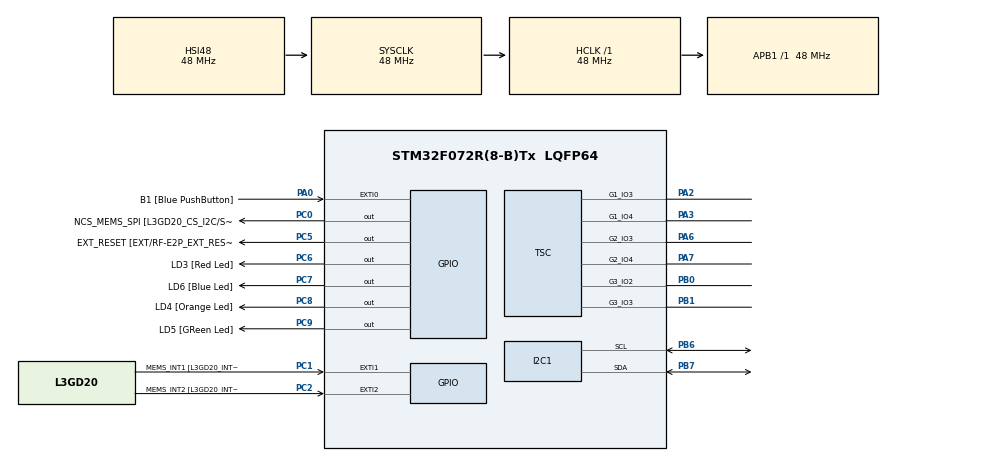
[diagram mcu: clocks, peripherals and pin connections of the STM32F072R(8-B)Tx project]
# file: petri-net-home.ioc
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I2C1.OwnAddress=0x3f
I2C1.Timing=0x20303E5D
Mcu.Family=STM32F0
Mcu.Name=STM32F072R(8-B)Tx
Mcu.Package=LQFP64
NVIC.EXTI0_1_IRQn=true\:1\:0\:true\:false\:true\:true\:true
NVIC.I2C1_IRQn=true\:0\:0\:false\:false\:true\:true\:true
NVIC.TIM14_IRQn=true\:0\:0\:false\:false\:true\:true\:true
NVIC.TIM6_DAC_IRQn=true\:1\:0\:true\:false\:true\:true\:true
PA0.GPIO_Label=B1 [Blue PushButton]
PA0.GPIO_ModeDefaultEXTI=GPIO_MODE_IT_RISING
PA0.Signal=GPXTI0
PA11.GPIO_Label=USBF4_DM
PA11.Signal=USB_DM
PA12.GPIO_Label=USBF4_DP
PA12.Signal=USB_DP
PA13.GPIO_Label=SWDIO
PA13.Mode=Serial_Wire
PA13.Signal=SYS_SWDIO
PA14.GPIO_Label=SWCLK
PA14.Mode=Serial_Wire
PA14.Signal=SYS_SWCLK
PA2.Mode=G1_IO3-Channel
PA2.Signal=TSC_G1_IO3
PA3.Mode=G1_IO4-Sampling
PA3.Signal=TSC_G1_IO4
PA6.Mode=G2_IO3-Channel
PA6.Signal=TSC_G2_IO3
PA7.Mode=G2_IO4-Sampling
PA7.Signal=TSC_G2_IO4
PB0.Mode=G3_IO2-Channel
PB0.Signal=TSC_G3_IO2
PB1.Mode=G3_IO3-Sampling
PB1.Signal=TSC_G3_IO3
PB10.GPIO_Label=I2C2_SCL[EXT/RF-E2P_SCL]
PB10.GPIO_Pu=GPIO_PULLUP
PB10.Signal=I2C2_SCL
PB11.GPIO_Label=I2C2_SDA[EXT/RF-E2P_SDA]
PB11.GPIO_Pu=GPIO_PULLUP
PB11.Signal=I2C2_SDA
PB13.GPIO_Label=SPI2_SCK [L3GD20_SCL/SPC]
PB13.Signal=SPI2_SCK
PB14.GPIO_Label=SPI2_MISO [L3GD20_SDO]
PB14.Signal=SPI2_MISO
PB15.GPIO_Label=SPI2_MOSI [L3GD20_SDA/SDI]
PB15.Signal=SPI2_MOSI
PB6.Mode=I2C
PB6.Signal=I2C1_SCL
PB7.Mode=I2C
PB7.Signal=I2C1_SDA
PC0.GPIO_Label=NCS_MEMS_SPI [L3GD20_CS_I2C/SPI]
PC0.Signal=GPIO_Output
PC1.GPIO_Label=MEMS_INT1 [L3GD20_INT1]
PC1.GPIO_ModeDefaultEXTI=GPIO_MODE_EVT_RISING
PC1.Signal=GPXTI1
PC2.GPIO_Label=MEMS_INT2 [L3GD20_INT2]
PC2.GPIO_ModeDefaultEXTI=GPIO_MODE_EVT_RISING
PC2.Signal=GPXTI2
PC5.GPIO_Label=EXT_RESET [EXT/RF-E2P_EXT_RESET]
PC5.Signal=GPIO_Output
PC6.GPIO_Label=LD3 [Red Led]
PC6.Signal=GPIO_Output
PC7.GPIO_Label=LD6 [Blue Led]
PC7.Signal=GPIO_Output
PC8.GPIO_Label=LD4 [Orange Led]
PC8.Signal=GPIO_Output
PC9.GPIO_Label=LD5 [GReen Led]
PC9.Signal=GPIO_Output
ProjectManager.HeapSize=0x200
ProjectManager.StackSize=0x400
ProjectManager.TargetToolchain=STM32CubeIDE
RCC.AHBFreq_Value=48000000
RCC.APB1Freq_Value=48000000
RCC.APB1TimFreq_Value=48000000
RCC.HCLKFreq_Value=48000000
RCC.I2c1ClockSelection=RCC_I2C1CLKSOURCE_SYSCLK
RCC.PLLMUL=RCC_PLL_MUL6
RCC.SYSCLKFreq_VALUE=48000000
RCC.SYSCLKSource=RCC_SYSCLKSOURCE_HSI48
RTC.AsynchPrediv=127
RTC.Date=31
RTC.DayLightSaving=RTC_DAYLIGHTSAVING_SUB1H
RTC.Hours=23
RTC.Minutes=59
RTC.Month=RTC_MONTH_DECEMBER
RTC.Seconds=45
RTC.StoreOperation=RTC_STOREOPERATION_SET
RTC.SynchPrediv=319
RTC.WeekDay=RTC_WEEKDAY_SUNDAY
RTC.Year=99
TIM14.AutoReloadPreload=TIM_AUTORELOAD_PRELOAD_ENABLE
TIM14.ClockDivision=TIM_CLOCKDIVISION_DIV4
TIM14.Prescaler=732
TIM6.AutoReloadPreload=TIM_AUTORELOAD_PRELOAD_ENABLE
TIM6.Period=5859
TIM6.Prescaler=8191
TIM6.TIM_MasterOutputTrigger=TIM_TRGO_ENABLE
TSC.ChannelIOs-G1_IO3=TSC_GROUP1_IO3
TSC.ChannelIOs-G2_IO3=TSC_GROUP2_IO3
TSC.ChannelIOs-G3_IO2=TSC_GROUP3_IO2
TSC.SamplingIOs-G1_IO4=TSC_GROUP1_IO4
TSC.SamplingIOs-G2_IO4=TSC_GROUP2_IO4
TSC.SamplingIOs-G3_IO3=TSC_GROUP3_IO3
VP_RTC_VS_RTC_Activate.Mode=RTC_Enabled
VP_RTC_VS_RTC_Calendar.Mode=RTC_Calendar
VP_TIM14_VS_ClockSourceINT.Mode=Enable_Timer
VP_TIM6_VS_ClockSourceINT.Mode=Enable_Timer
board=STM32F072B-DISCO

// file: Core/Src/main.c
/* USER CODE BEGIN Header */
/**
******************************************************************************
* @file					 : main.c
* @brief					: Main program body
******************************************************************************
* @attention
*
* <h2><center>&copy; Copyright (c) 2023 STMicroelectronics.
* All rights reserved.</center></h2>
*
* This software component is licensed by ST under BSD 3-Clause license,
* the "License"; You may not use this file except in compliance with the
* License. You may obtain a copy of the License at:
*												opensource.org/licenses/BSD-3-Clause
*
******************************************************************************
*/
/* USER CODE END Header */
#include "main.h"

/* USER CODE BEGIN Includes */
#include "lcd_driver.h"
#include "terminal.h"
#include "action.h"
#include "netjson.h"

#include <stdio.h>
/* USER CODE END Includes */

/* USER CODE BEGIN PTD */
typedef struct button_data {
	int val;
	bool press;
} btn_t;
/* USER CODE END PTD */

/* USER CODE BEGIN PD */
//#define MAX_SYSTEMS 3
/* USER CODE END PD */

/* USER CODE BEGIN PM */
//#define ABS(x) ((x)<0 ? -(x) : (x))
/* USER CODE END PM */

I2C_HandleTypeDef hi2c1;

RTC_HandleTypeDef hrtc;

TIM_HandleTypeDef htim6;
TIM_HandleTypeDef htim14;

TSC_HandleTypeDef htsc;

/* USER CODE BEGIN PV */
uint32_t memalloc;

const uint8_t *heap_start = (uint8_t *)0x200003d0;
uint8_t *heap_ptr;

static enum BUTTON_PRESS btn = BP_NONE;
static btn_t ubtn;

static uint32_t t_prev = 0, t_curr = 0, dt = 0;

static light_t light;
static climate_t climate;
static firectrl_t fire;
static room_t room;

//static lt_data_t ldata[MAX_SYSTEMS];
/* USER CODE END PV */

void SystemClock_Config(void);
static void MX_GPIO_Init(void);
static void MX_TSC_Init(void);
static void MX_I2C1_Init(void);
static void MX_RTC_Init(void);
static void MX_TIM6_Init(void);
static void MX_TIM14_Init(void);

/* USER CODE BEGIN 0 */

/* helper functions */
void HAL_GPIO_EXTI_Callback(uint16_t GPIO_Pin)
{
	/* get time delta in ms */
	t_prev = t_curr;
	t_curr = HAL_GetTick();
	dt = abs((int32_t)t_curr - (int32_t)t_prev);
	/* button */
	switch(GPIO_Pin)
	{
	case GPIO_PIN_0:
		/* check for multiple presses, with short & long double press*/
		if (dt < 400) {
			btn = BP_DOUBLE;
		} else if (dt >= 400 && dt < 800) {
			btn = BP_LONG;
		} else {
			btn = BP_SINGLE;
		}
		/* start a button get timer */
//		HAL_GPIO_WritePin(LD6_GPIO_Port, LD6_Pin, SET);
		HAL_TIM_Base_Start_IT(&htim6);
		break;

	default:
		break;
	};
}

void HAL_TIM_PeriodElapsedCallback(TIM_HandleTypeDef* htim)
{
	if (&htim6 == htim) {
		HAL_TIM_Base_Stop_IT(&htim6);
//		HAL_GPIO_WritePin(LD6_GPIO_Port, LD6_Pin, RESET);

		ubtn.val = btn;
		ubtn.press = true;

		btn = 0;
	}
	if (&htim14 == htim) {
		HAL_TIM_Base_Stop_IT(&htim14);
		room.fdata->timer = false;
	}
}

void control_lights(room_t *room)
{
	switch (ubtn.val)
	{
	case BP_DOUBLE:
		room->ldata->state ^= 1;
		break;
	case BP_SINGLE:
		if (room->ldata->state == C_OFF)
			room->ldata->brightness++;
		else
			room->ldata->brightness--;
		break;

	default:
		break;
	};
}

void control_climate(room_t *room)
{
	switch (ubtn.val)
	{
	case BP_DOUBLE:
		room->cdata->state ^= 1;
		break;
	case BP_SINGLE:
		room->cdata->prev_temp = room->cdata->curr_temp;
		if (room->cdata->state == C_OFF)
			room->cdata->curr_temp++;
		else
			room->cdata->curr_temp--;
		break;

	default:
		break;
	};
}

void control_fire(room_t *room)
{
	switch (ubtn.val)
	{
	case BP_DOUBLE:
		room->fdata->state ^= 1;
		break;
	case BP_SINGLE:
		room->cdata->prev_temp = room->cdata->curr_temp;
		if (room->fdata->state == C_OFF)
			room->cdata->curr_temp--;
		else
			room->cdata->curr_temp++;
		break;

	default:
		break;
	};
}

void control_room(room_t *room)
{
	switch (ubtn.val)
	{
	case BP_SINGLE:
		room->people ^= 1;
		break;

	default:
		break;
	};
}

void control_by_idx(room_t *room, uint32_t idx)
{
	if (!room || !room->ldata || !room->ldata)
		return;

	switch (idx)
	{
	case 1:
		control_lights(room);
		break;
	case 2:
		control_climate(room);
		break;
	case 3:
		control_fire(room);
		break;

	default:
		control_room(room);
		break;
	};
}
/* USER CODE END 0 */

int main(void)
{

  /* MCU Configuration--------------------------------------------------------*/

  /* Reset of all peripherals, Initializes the Flash interface and the Systick. */
  HAL_Init();

  /* Configure the system clock */
  SystemClock_Config();

  /* Initialize all configured peripherals */
  MX_GPIO_Init();
  MX_TSC_Init();
  MX_I2C1_Init();
  MX_RTC_Init();
  MX_TIM6_Init();
  MX_TIM14_Init();
  /* USER CODE BEGIN 2 */
	/* user systems */
		/* terminal data structs & buffers */
	char sbuf[17] = {'\0'};
	char tbuf[17] = {'\0'};
	term_win stdwin;
		/* i2c bus & lcd + terminal lib init */
	while (1) {
		if (HAL_I2C_IsDeviceReady(&hi2c1, LCD_ADDR, 1, HAL_MAX_DELAY) == HAL_OK) {
			lcd_init();
			term_init(&stdwin);
			break;
		}
	}
	/* status structures init */
	light.state = C_OFF;
	light.brightness = 8;

	climate.state = C_OFF;
	climate.prev_temp = 27;
	climate.curr_temp = 28;
	climate.target_temp = 22;

	fire.state = C_OFF;
//	fire.tim = &htim14;
	fire.timer = false;
	fire.alarm = false;
	fire.smoke = false;
	fire.rate = climate.curr_temp - climate.prev_temp;

	room.people = 0;
	room.ldata = &light;
	room.cdata = &climate;
	room.fdata = &fire;

	/* misc control data */
	int jstatus = 0;
	uint32_t sys_idx = 0, ctrl_idx = 0;
	/* for testing */
	srand(0);

	/* petri net init */
		/* define function table */
	function_table_init();
		/* function table offsets */
	uint32_t offset = 0;
	uint32_t offsets[MAX_SYSTEMS] = { 0, 5, 11 };
		/* system names */
	const char *sys_names[MAX_SYSTEMS] = {
		"LightSys",
		"ClimateSys",
		"FireSys"
	};
		/* petri net container */
	pnet_t *sys = pnet_create();
	/* load LightSys by default */
	pnet_init(sys, sys_names[sys_idx]);
	jstatus = pnet_deserialize(sys, jstr[sys_idx]);
	/* set transition functions */
	offset = offsets[sys_idx];
	for (uint32_t i = 0; i < sys->trans_count; i++) {
		const uint32_t x = offset + i;
		trans_set_action(sys->trans[i], funcs[x], &room);
	}
  /* USER CODE END 2 */

  /* Infinite loop */
  /* USER CODE BEGIN WHILE */
	uint32_t delta = 0, i = 0;
	while (1) {
    /* USER CODE END WHILE */

    /* USER CODE BEGIN 3 */
		delta = (uint32_t)heap_ptr - (uint32_t)heap_start;
		/* simulate current loaded system in sequence */
		pnet_fire_sequence(sys);

		/* draw clear */
		term_cls(&stdwin);

		switch (ctrl_idx)
		{
		case 1:
			snprintf(tbuf, 16, "s%i b%lu", room.ldata->state, room.ldata->brightness);
			break;
		case 2:
			snprintf(tbuf, 16, "s%1i c%03li t%03li", room.cdata->state, room.cdata->curr_temp, room.cdata->target_temp);
			break;
		case 3:
			snprintf(tbuf, 16, "s%1i p%03lu c%03lu %03li", room.fdata->state, room.cdata->prev_temp, room.cdata->curr_temp, room.fdata->rate);
			break;

		default:
			snprintf(tbuf, 16, "j%1u p%1lu %lu %lu", jstatus, room.people, delta, memalloc);
			break;
		};
		term_putsl(&stdwin, tbuf, 0);
		/* do not print anything if in room controls */
		if (ctrl_idx != 0) {
			pnet_dump_state_as_str(sys, sbuf);
			snprintf(tbuf, 16, "%.8s %04lu", sbuf, delta);
			term_putsl(&stdwin, tbuf, 1);
		}
		/* simulation for different systems */
		uint32_t chance = rand() % 100;
		room.cdata->prev_temp = room.cdata->curr_temp;
		switch (sys_idx) {
		case 1:
			/* random temperature decrement for heating */
			if (i % 25 == 0) {
				if (chance < 40) {
					room.cdata->curr_temp--;
				} else if (chance >= 40 && chance < 70) {
					room.cdata->curr_temp -= 5;
				} else if (chance >= 70 && chance < 100) {
					room.cdata->curr_temp -= 10;
				}
			}
			break;

		case 2:
			/* random temperature increment for fire alarm */
			if (i % 25 == 0) {
				room.cdata->prev_temp = room.cdata->curr_temp;
				if (chance < 40) {
					room.cdata->curr_temp++;
				} else if (chance >= 40 && chance < 70) {
					room.cdata->curr_temp += 5;
				} else if (chance >= 70 && chance < 100) {
					room.cdata->curr_temp += 10;
				}
			}
			break;

		default:
			break;
		};
		i++;

		/* draw render */
		term_draw(&stdwin);

		/* do something only if button was pressed */
		if (!ubtn.press)
			continue;
		/* room controls emulation */
		control_by_idx(&room, ctrl_idx);
		/* cycle through systems */
		if(ubtn.val == BP_LONG) {
			/* currently loaded system */
			if (ctrl_idx > 0)
				sys_idx = (sys_idx + 1) % MAX_SYSTEMS;
			/* 0 is room, others are system controls */
			ctrl_idx = (ctrl_idx + 1) % (MAX_SYSTEMS + 1);
			/* free previous & create next */
			pnet_free(sys);
			sys = pnet_create();
			/* reinit system */
			pnet_init(sys, sys_names[sys_idx]);
			jstatus = pnet_deserialize(sys, jstr[sys_idx]);
			/* set transition functions */
			offset = offsets[sys_idx];
			for (uint32_t i = 0; i < sys->trans_count; i++) {
				const uint32_t x = offset + i;
				trans_set_action(sys->trans[i], funcs[x], &room);
			}
			HAL_GPIO_WritePin(GPIOC, GPIO_PIN_6, GPIO_PIN_RESET);
			HAL_GPIO_WritePin(GPIOC, GPIO_PIN_7, GPIO_PIN_RESET);
			HAL_GPIO_WritePin(GPIOC, GPIO_PIN_8, GPIO_PIN_RESET);
			HAL_GPIO_WritePin(GPIOC, GPIO_PIN_9, GPIO_PIN_RESET);
		}
		/* clear button press */
		ubtn.val = BP_NONE;
		ubtn.press = false;
	}
  /* USER CODE END 3 */
}

void SystemClock_Config(void)
{
  RCC_OscInitTypeDef RCC_OscInitStruct = {0};
  RCC_ClkInitTypeDef RCC_ClkInitStruct = {0};
  RCC_PeriphCLKInitTypeDef PeriphClkInit = {0};

  /** Initializes the RCC Oscillators according to the specified parameters
  * in the RCC_OscInitTypeDef structure.
  */
  RCC_OscInitStruct.OscillatorType = RCC_OSCILLATORTYPE_HSI48|RCC_OSCILLATORTYPE_LSI;
  RCC_OscInitStruct.HSI48State = RCC_HSI48_ON;
  RCC_OscInitStruct.LSIState = RCC_LSI_ON;
  RCC_OscInitStruct.PLL.PLLState = RCC_PLL_NONE;
  if (HAL_RCC_OscConfig(&RCC_OscInitStruct) != HAL_OK)
  {
    Error_Handler();
  }
  /** Initializes the CPU, AHB and APB buses clocks
  */
  RCC_ClkInitStruct.ClockType = RCC_CLOCKTYPE_HCLK|RCC_CLOCKTYPE_SYSCLK
                              |RCC_CLOCKTYPE_PCLK1;
  RCC_ClkInitStruct.SYSCLKSource = RCC_SYSCLKSOURCE_HSI48;
  RCC_ClkInitStruct.AHBCLKDivider = RCC_SYSCLK_DIV1;
  RCC_ClkInitStruct.APB1CLKDivider = RCC_HCLK_DIV1;

  if (HAL_RCC_ClockConfig(&RCC_ClkInitStruct, FLASH_LATENCY_1) != HAL_OK)
  {
    Error_Handler();
  }
  PeriphClkInit.PeriphClockSelection = RCC_PERIPHCLK_I2C1|RCC_PERIPHCLK_RTC;
  PeriphClkInit.I2c1ClockSelection = RCC_I2C1CLKSOURCE_SYSCLK;
  PeriphClkInit.RTCClockSelection = RCC_RTCCLKSOURCE_LSI;
  if (HAL_RCCEx_PeriphCLKConfig(&PeriphClkInit) != HAL_OK)
  {
    Error_Handler();
  }
}

static void MX_I2C1_Init(void)
{

  hi2c1.Instance = I2C1;
  hi2c1.Init.Timing = 0x20303E5D;
  hi2c1.Init.OwnAddress1 = 126;
  hi2c1.Init.AddressingMode = I2C_ADDRESSINGMODE_7BIT;
  hi2c1.Init.DualAddressMode = I2C_DUALADDRESS_DISABLE;
  hi2c1.Init.OwnAddress2 = 0;
  hi2c1.Init.OwnAddress2Masks = I2C_OA2_NOMASK;
  hi2c1.Init.GeneralCallMode = I2C_GENERALCALL_DISABLE;
  hi2c1.Init.NoStretchMode = I2C_NOSTRETCH_DISABLE;
  if (HAL_I2C_Init(&hi2c1) != HAL_OK)
  {
    Error_Handler();
  }
  /** Configure Analogue filter
  */
  if (HAL_I2CEx_ConfigAnalogFilter(&hi2c1, I2C_ANALOGFILTER_ENABLE) != HAL_OK)
  {
    Error_Handler();
  }
  /** Configure Digital filter
  */
  if (HAL_I2CEx_ConfigDigitalFilter(&hi2c1, 0) != HAL_OK)
  {
    Error_Handler();
  }

}

static void MX_RTC_Init(void)
{

  RTC_TimeTypeDef sTime = {0};
  RTC_DateTypeDef sDate = {0};

  /** Initialize RTC Only
  */
  hrtc.Instance = RTC;
  hrtc.Init.HourFormat = RTC_HOURFORMAT_24;
  hrtc.Init.AsynchPrediv = 127;
  hrtc.Init.SynchPrediv = 319;
  hrtc.Init.OutPut = RTC_OUTPUT_DISABLE;
  hrtc.Init.OutPutPolarity = RTC_OUTPUT_POLARITY_HIGH;
  hrtc.Init.OutPutType = RTC_OUTPUT_TYPE_OPENDRAIN;
  if (HAL_RTC_Init(&hrtc) != HAL_OK)
  {
    Error_Handler();
  }

  /** Initialize RTC and set the Time and Date
  */
  sTime.Hours = 0x23;
  sTime.Minutes = 0x59;
  sTime.Seconds = 0x45;
  sTime.DayLightSaving = RTC_DAYLIGHTSAVING_SUB1H;
  sTime.StoreOperation = RTC_STOREOPERATION_SET;
  if (HAL_RTC_SetTime(&hrtc, &sTime, RTC_FORMAT_BCD) != HAL_OK)
  {
    Error_Handler();
  }
  sDate.WeekDay = RTC_WEEKDAY_SUNDAY;
  sDate.Month = RTC_MONTH_DECEMBER;
  sDate.Date = 0x31;
  sDate.Year = 0x99;

  if (HAL_RTC_SetDate(&hrtc, &sDate, RTC_FORMAT_BCD) != HAL_OK)
  {
    Error_Handler();
  }

}

static void MX_TIM6_Init(void)
{

  TIM_MasterConfigTypeDef sMasterConfig = {0};

  htim6.Instance = TIM6;
  htim6.Init.Prescaler = 8191;
  htim6.Init.CounterMode = TIM_COUNTERMODE_UP;
  htim6.Init.Period = 5859;
  htim6.Init.AutoReloadPreload = TIM_AUTORELOAD_PRELOAD_ENABLE;
  if (HAL_TIM_Base_Init(&htim6) != HAL_OK)
  {
    Error_Handler();
  }
  sMasterConfig.MasterOutputTrigger = TIM_TRGO_ENABLE;
  sMasterConfig.MasterSlaveMode = TIM_MASTERSLAVEMODE_DISABLE;
  if (HAL_TIMEx_MasterConfigSynchronization(&htim6, &sMasterConfig) != HAL_OK)
  {
    Error_Handler();
  }

}

static void MX_TIM14_Init(void)
{

  htim14.Instance = TIM14;
  htim14.Init.Prescaler = 732;
  htim14.Init.CounterMode = TIM_COUNTERMODE_UP;
  htim14.Init.Period = 65535;
  htim14.Init.ClockDivision = TIM_CLOCKDIVISION_DIV4;
  htim14.Init.AutoReloadPreload = TIM_AUTORELOAD_PRELOAD_ENABLE;
  if (HAL_TIM_Base_Init(&htim14) != HAL_OK)
  {
    Error_Handler();
  }

}

static void MX_TSC_Init(void)
{

  /** Configure the TSC peripheral
  */
  htsc.Instance = TSC;
  htsc.Init.CTPulseHighLength = TSC_CTPH_2CYCLES;
  htsc.Init.CTPulseLowLength = TSC_CTPL_2CYCLES;
  htsc.Init.SpreadSpectrum = DISABLE;
  htsc.Init.SpreadSpectrumDeviation = 1;
  htsc.Init.SpreadSpectrumPrescaler = TSC_SS_PRESC_DIV1;
  htsc.Init.PulseGeneratorPrescaler = TSC_PG_PRESC_DIV4;
  htsc.Init.MaxCountValue = TSC_MCV_8191;
  htsc.Init.IODefaultMode = TSC_IODEF_OUT_PP_LOW;
  htsc.Init.SynchroPinPolarity = TSC_SYNC_POLARITY_FALLING;
  htsc.Init.AcquisitionMode = TSC_ACQ_MODE_NORMAL;
  htsc.Init.MaxCountInterrupt = DISABLE;
  htsc.Init.ChannelIOs = TSC_GROUP1_IO3|TSC_GROUP2_IO3|TSC_GROUP3_IO2;
  htsc.Init.ShieldIOs = 0;
  htsc.Init.SamplingIOs = TSC_GROUP1_IO4|TSC_GROUP2_IO4|TSC_GROUP3_IO3;
  if (HAL_TSC_Init(&htsc) != HAL_OK)
  {
    Error_Handler();
  }

}

static void MX_GPIO_Init(void)
{
  GPIO_InitTypeDef GPIO_InitStruct = {0};

  /* GPIO Ports Clock Enable */
  __HAL_RCC_GPIOC_CLK_ENABLE();
  __HAL_RCC_GPIOA_CLK_ENABLE();
  __HAL_RCC_GPIOB_CLK_ENABLE();

  /*Configure GPIO pin Output Level */
  HAL_GPIO_WritePin(GPIOC, NCS_MEMS_SPI_Pin|EXT_RESET_Pin|LD3_Pin|LD6_Pin
                          |LD4_Pin|LD5_Pin, GPIO_PIN_RESET);

  /*Configure GPIO pins : NCS_MEMS_SPI_Pin EXT_RESET_Pin LD3_Pin LD6_Pin
                           LD4_Pin LD5_Pin */
  GPIO_InitStruct.Pin = NCS_MEMS_SPI_Pin|EXT_RESET_Pin|LD3_Pin|LD6_Pin
                          |LD4_Pin|LD5_Pin;
  GPIO_InitStruct.Mode = GPIO_MODE_OUTPUT_PP;
  GPIO_InitStruct.Pull = GPIO_NOPULL;
  GPIO_InitStruct.Speed = GPIO_SPEED_FREQ_LOW;
  HAL_GPIO_Init(GPIOC, &GPIO_InitStruct);

  /*Configure GPIO pins : MEMS_INT1_Pin MEMS_INT2_Pin */
  GPIO_InitStruct.Pin = MEMS_INT1_Pin|MEMS_INT2_Pin;
  GPIO_InitStruct.Mode = GPIO_MODE_EVT_RISING;
  GPIO_InitStruct.Pull = GPIO_NOPULL;
  HAL_GPIO_Init(GPIOC, &GPIO_InitStruct);

  /*Configure GPIO pin : B1_Pin */
  GPIO_InitStruct.Pin = B1_Pin;
  GPIO_InitStruct.Mode = GPIO_MODE_IT_RISING;
  GPIO_InitStruct.Pull = GPIO_NOPULL;
  HAL_GPIO_Init(B1_GPIO_Port, &GPIO_InitStruct);

  /*Configure GPIO pins : I2C2_SCL_Pin I2C2_SDA_Pin */
  GPIO_InitStruct.Pin = I2C2_SCL_Pin|I2C2_SDA_Pin;
  GPIO_InitStruct.Mode = GPIO_MODE_AF_OD;
  GPIO_InitStruct.Pull = GPIO_PULLUP;
  GPIO_InitStruct.Speed = GPIO_SPEED_FREQ_HIGH;
  GPIO_InitStruct.Alternate = GPIO_AF1_I2C2;
  HAL_GPIO_Init(GPIOB, &GPIO_InitStruct);

  /*Configure GPIO pins : SPI2_SCK_Pin SPI2_MISO_Pin SPI2_MOSI_Pin */
  GPIO_InitStruct.Pin = SPI2_SCK_Pin|SPI2_MISO_Pin|SPI2_MOSI_Pin;
  GPIO_InitStruct.Mode = GPIO_MODE_AF_PP;
  GPIO_InitStruct.Pull = GPIO_NOPULL;
  GPIO_InitStruct.Speed = GPIO_SPEED_FREQ_HIGH;
  GPIO_InitStruct.Alternate = GPIO_AF0_SPI2;
  HAL_GPIO_Init(GPIOB, &GPIO_InitStruct);

  /* EXTI interrupt init*/
  HAL_NVIC_SetPriority(EXTI0_1_IRQn, 1, 0);
  HAL_NVIC_EnableIRQ(EXTI0_1_IRQn);

}

void Error_Handler(void)
{
	__disable_irq();
	while (1)
	{
	}
}

/************************ (C) COPYRIGHT STMicroelectronics *****END OF FILE****/
